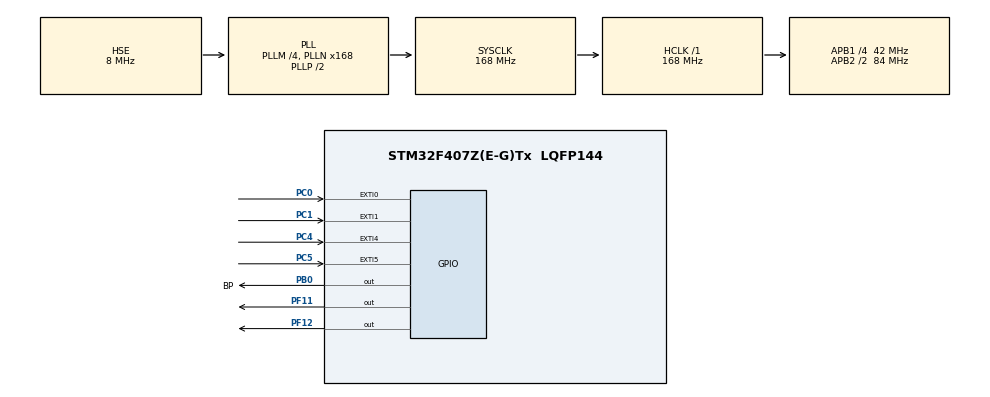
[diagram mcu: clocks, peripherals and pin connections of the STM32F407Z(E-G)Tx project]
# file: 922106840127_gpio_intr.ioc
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Mcu.Family=STM32F4
Mcu.Name=STM32F407Z(E-G)Tx
Mcu.Package=LQFP144
NVIC.EXTI0_IRQn=true\:7\:0\:true\:false\:true\:true\:true\:true
NVIC.EXTI1_IRQn=true\:7\:0\:true\:false\:true\:true\:true\:true
NVIC.EXTI4_IRQn=true\:7\:0\:true\:false\:true\:true\:true\:true
NVIC.EXTI9_5_IRQn=true\:7\:0\:true\:false\:true\:true\:true\:true
NVIC.PriorityGroup=NVIC_PRIORITYGROUP_3
PA13.Mode=Serial_Wire
PA13.Signal=SYS_JTMS-SWDIO
PA14.Mode=Serial_Wire
PA14.Signal=SYS_JTCK-SWCLK
PB0.GPIO_Label=BP
PB0.Signal=GPIO_Output
PC0.GPIO_ModeDefaultEXTI=GPIO_MODE_IT_FALLING
PC0.GPIO_PuPd=GPIO_PULLUP
PC0.Signal=GPXTI0
PC1.GPIO_ModeDefaultEXTI=GPIO_MODE_IT_FALLING
PC1.GPIO_PuPd=GPIO_PULLUP
PC1.Signal=GPXTI1
PC14-OSC32_IN.Mode=LSE-External-Oscillator
PC14-OSC32_IN.Signal=RCC_OSC32_IN
PC15-OSC32_OUT.Mode=LSE-External-Oscillator
PC15-OSC32_OUT.Signal=RCC_OSC32_OUT
PC4.GPIO_ModeDefaultEXTI=GPIO_MODE_IT_FALLING
PC4.GPIO_PuPd=GPIO_PULLUP
PC4.Signal=GPXTI4
PC5.GPIO_ModeDefaultEXTI=GPIO_MODE_IT_FALLING
PC5.GPIO_PuPd=GPIO_PULLUP
PC5.Signal=GPXTI5
PF11.Signal=GPIO_Output
PF12.Signal=GPIO_Output
PH0-OSC_IN.Mode=HSE-External-Oscillator
PH0-OSC_IN.Signal=RCC_OSC_IN
PH1-OSC_OUT.Mode=HSE-External-Oscillator
PH1-OSC_OUT.Signal=RCC_OSC_OUT
ProjectManager.HeapSize=0x200
ProjectManager.StackSize=0x400
ProjectManager.TargetToolchain=MDK-ARM V5.32
RCC.48MHZClocksFreq_Value=84000000
RCC.AHBFreq_Value=168000000
RCC.APB1CLKDivider=RCC_HCLK_DIV4
RCC.APB1Freq_Value=42000000
RCC.APB1TimFreq_Value=84000000
RCC.APB2CLKDivider=RCC_HCLK_DIV2
RCC.APB2Freq_Value=84000000
RCC.APB2TimFreq_Value=168000000
RCC.CortexFreq_Value=168000000
RCC.HCLKFreq_Value=168000000
RCC.HSE_VALUE=8000000
RCC.HSI_VALUE=16000000
RCC.PLLM=4
RCC.PLLN=168
RCC.PLLSourceVirtual=RCC_PLLSOURCE_HSE
RCC.SYSCLKFreq_VALUE=168000000
RCC.SYSCLKSource=RCC_SYSCLKSOURCE_PLLCLK
RCC.VCOOutputFreq_Value=336000000
board=custom

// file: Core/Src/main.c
/* USER CODE BEGIN Header */
/**
  ******************************************************************************
  * @file           : main.c
  * @brief          : Main program body
  ******************************************************************************
  * @attention
  *
  * Copyright (c) 2025 STMicroelectronics.
  * All rights reserved.
  *
  * This software is licensed under terms that can be found in the LICENSE file
  * in the root directory of this software component.
  * If no LICENSE file comes with this software, it is provided AS-IS.
  *
  ******************************************************************************
  */
/* USER CODE END Header */
#include "main.h"
#include "gpio.h"

void SystemClock_Config(void);

/* USER CODE BEGIN 0 */
void delay(uint32_t i);
void sound1(void);
void sound2(void);

void HAL_GPIO_EXTI_Callback(uint16_t GPIO_Pin)
{
	HAL_Delay(15);
	if(HAL_GPIO_ReadPin(GPIOC, GPIO_Pin) == GPIO_PIN_RESET)
	{
		if(GPIO_Pin == GPIO_PIN_0)
		{
			HAL_GPIO_TogglePin(GPIOF, GPIO_PIN_12);
		}
		if(GPIO_Pin == GPIO_PIN_1)
		{
			for(int i=0;i<38;i++)
			{
				sound2();
			}
			HAL_GPIO_WritePin(GPIOB, GPIO_PIN_0, GPIO_PIN_RESET);
		}
		if(GPIO_Pin == GPIO_PIN_4)
		{
			HAL_GPIO_TogglePin(GPIOF, GPIO_PIN_11);
		}
		if(GPIO_Pin == GPIO_PIN_5)
		{
			sound1();
			sound1();
			HAL_GPIO_WritePin(GPIOB, GPIO_PIN_0, GPIO_PIN_RESET);
		}
	}
}
/* USER CODE END 0 */

int main(void)
{

  /* MCU Configuration--------------------------------------------------------*/

  /* Reset of all peripherals, Initializes the Flash interface and the Systick. */
  HAL_Init();

  /* Configure the system clock */
  SystemClock_Config();

  /* Initialize all configured peripherals */
  MX_GPIO_Init();

  /* Infinite loop */
  while (1)
  {

  }
}

void SystemClock_Config(void)
{
  RCC_OscInitTypeDef RCC_OscInitStruct = {0};
  RCC_ClkInitTypeDef RCC_ClkInitStruct = {0};

  /** Configure the main internal regulator output voltage
  */
  __HAL_RCC_PWR_CLK_ENABLE();
  __HAL_PWR_VOLTAGESCALING_CONFIG(PWR_REGULATOR_VOLTAGE_SCALE1);

  /** Initializes the RCC Oscillators according to the specified parameters
  * in the RCC_OscInitTypeDef structure.
  */
  RCC_OscInitStruct.OscillatorType = RCC_OSCILLATORTYPE_HSE;
  RCC_OscInitStruct.HSEState = RCC_HSE_ON;
  RCC_OscInitStruct.PLL.PLLState = RCC_PLL_ON;
  RCC_OscInitStruct.PLL.PLLSource = RCC_PLLSOURCE_HSE;
  RCC_OscInitStruct.PLL.PLLM = 4;
  RCC_OscInitStruct.PLL.PLLN = 168;
  RCC_OscInitStruct.PLL.PLLP = RCC_PLLP_DIV2;
  RCC_OscInitStruct.PLL.PLLQ = 4;
  if (HAL_RCC_OscConfig(&RCC_OscInitStruct) != HAL_OK)
  {
    Error_Handler();
  }

  /** Initializes the CPU, AHB and APB buses clocks
  */
  RCC_ClkInitStruct.ClockType = RCC_CLOCKTYPE_HCLK|RCC_CLOCKTYPE_SYSCLK
                              |RCC_CLOCKTYPE_PCLK1|RCC_CLOCKTYPE_PCLK2;
  RCC_ClkInitStruct.SYSCLKSource = RCC_SYSCLKSOURCE_PLLCLK;
  RCC_ClkInitStruct.AHBCLKDivider = RCC_SYSCLK_DIV1;
  RCC_ClkInitStruct.APB1CLKDivider = RCC_HCLK_DIV4;
  RCC_ClkInitStruct.APB2CLKDivider = RCC_HCLK_DIV2;

  if (HAL_RCC_ClockConfig(&RCC_ClkInitStruct, FLASH_LATENCY_5) != HAL_OK)
  {
    Error_Handler();
  }
}

/* USER CODE BEGIN 4 */
void delay(uint32_t i)
{
	while(i--);
}
//ambulance sound PC5 K4
void sound1(void)
{
	uint32_t i = 30000;
	while(i)
	{
		HAL_GPIO_WritePin(GPIOB, BP_Pin, GPIO_PIN_RESET);
		delay(i);
		HAL_GPIO_WritePin(GPIOB, BP_Pin, GPIO_PIN_SET);
		delay(i);
		i = i - 6;
	}
}
//e-bike sound PC1 K2
void sound2(void)
{
	uint32_t i = 6000;
	while(i)
	{
		HAL_GPIO_WritePin(GPIOB, BP_Pin, GPIO_PIN_RESET);
		delay(i);
		HAL_GPIO_WritePin(GPIOB, BP_Pin, GPIO_PIN_SET);
		delay(i);
		i = i - 6;
	}
}
/* USER CODE END 4 */

void Error_Handler(void)
{
  __disable_irq();
  while (1)
  {
  }
}
